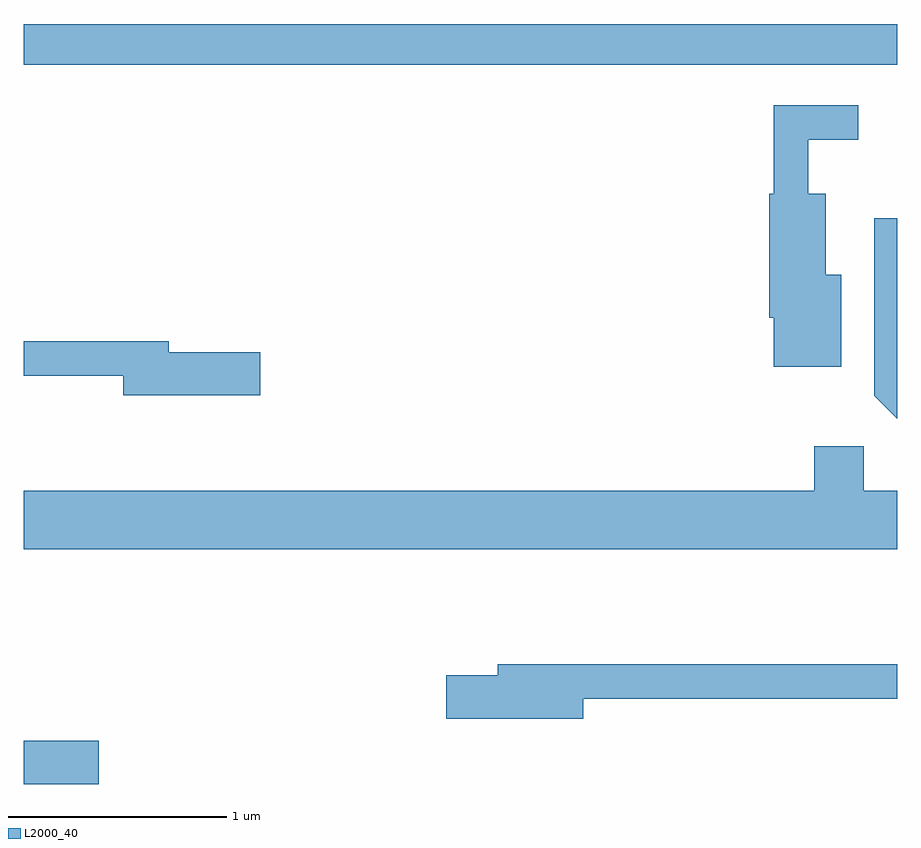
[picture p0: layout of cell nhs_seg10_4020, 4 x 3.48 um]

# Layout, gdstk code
import gdstk
lib = gdstk.Library(unit=1e-6, precision=1e-09)
def R(c, l, rs):  # rectangles x0, y0, x1, y1
    for r in rs: c.add(gdstk.rectangle(r[:2], r[2:], *l))
def P(c, l, *ps):  # polygons
    for p in ps: c.add(gdstk.Polygon(p, *l))
L2000_40 = (2000, 40)

nhs_seg10_4020 = lib.new_cell('nhs_seg10_4020')
R(nhs_seg10_4020, L2000_40, [(303.611,2135.041,303.954,2135.239), (303.611,2138.336,307.611,2138.522)])
P(nhs_seg10_4020, L2000_40, [(307.354,2137.374),(307.284,2137.374),(307.284,2137.744),(307.204,2137.744),(307.204,2137.991),(307.433,2137.991),(307.433,2138.149),(307.046,2138.149),(307.046,2137.744),(307.026,2137.744),(307.026,2137.176),(307.046,2137.176),(307.046,2136.951),(307.354,2136.951)],
  [(307.611,2137.633),(307.506,2137.633),(307.506,2136.819),(307.611,2136.714)],
  [(304.694,2137.019),(304.274,2137.019),(304.274,2137.069),(303.611,2137.069),(303.611,2136.911),(304.066,2136.911),(304.066,2136.821),(304.694,2136.821)],
  [(307.611,2136.384),(307.459,2136.384),(307.459,2136.589),(307.231,2136.589),(307.231,2136.384),(303.611,2136.384),(303.611,2136.116),(307.611,2136.116)],
  [(306.174,2135.431),(307.611,2135.431),(307.611,2135.589),(305.781,2135.589),(305.781,2135.539),(305.546,2135.539),(305.546,2135.341),(306.174,2135.341)])

lib.write_gds('nhs_seg10_4020.gds')
